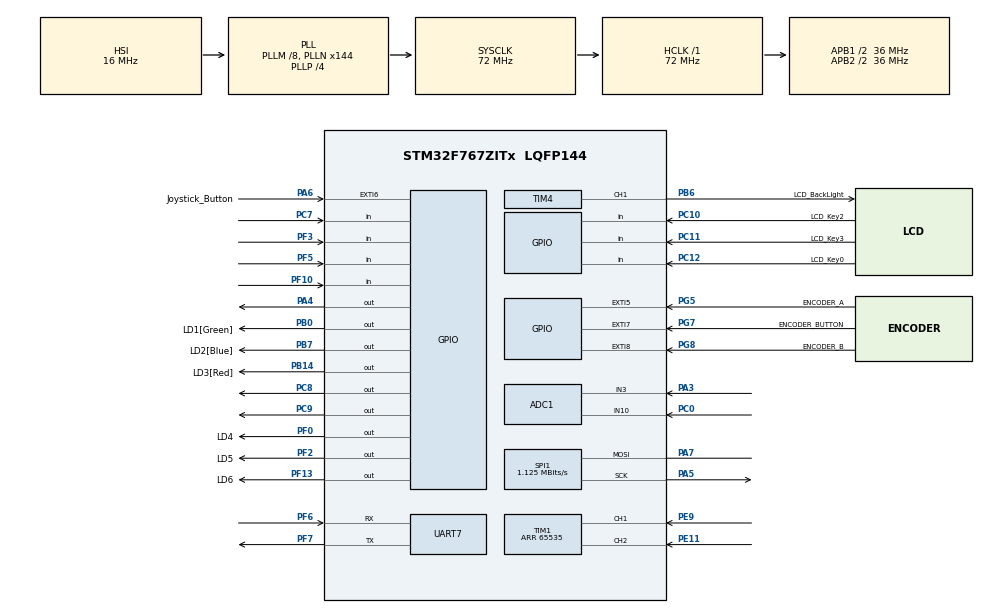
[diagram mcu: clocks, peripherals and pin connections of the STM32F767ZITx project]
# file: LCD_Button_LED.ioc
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ADC1.Channel-0\#ChannelRegularConversion=ADC_CHANNEL_3
ADC1.Channel-1\#ChannelRegularConversion=ADC_CHANNEL_10
ADC1.DMAContinuousRequests=ENABLE
ADC1.EOCSelection=ADC_EOC_SEQ_CONV
ADC1.NbrOfConversion=2
ADC1.NbrOfConversionFlag=1
ADC1.Rank-0\#ChannelRegularConversion=1
ADC1.Rank-1\#ChannelRegularConversion=2
ADC1.SamplingTime-0\#ChannelRegularConversion=ADC_SAMPLETIME_15CYCLES
ADC1.SamplingTime-1\#ChannelRegularConversion=ADC_SAMPLETIME_15CYCLES
ADC1.ScanConvMode=ADC_SCAN_ENABLE
ADC1.master=1
Dma.ADC1.0.Direction=DMA_PERIPH_TO_MEMORY
Dma.ADC1.0.FIFOMode=DMA_FIFOMODE_DISABLE
Dma.ADC1.0.Instance=DMA2_Stream0
Dma.ADC1.0.MemDataAlignment=DMA_MDATAALIGN_HALFWORD
Dma.ADC1.0.MemInc=DMA_MINC_ENABLE
Dma.ADC1.0.Mode=DMA_NORMAL
Dma.ADC1.0.PeriphDataAlignment=DMA_PDATAALIGN_HALFWORD
Dma.ADC1.0.PeriphInc=DMA_PINC_DISABLE
Dma.ADC1.0.Priority=DMA_PRIORITY_HIGH
Dma.Request0=ADC1
Mcu.Family=STM32F7
Mcu.Name=STM32F767ZITx
Mcu.Package=LQFP144
NVIC.ADC_IRQn=true\:0\:0\:false\:false\:true\:true\:true
NVIC.DMA2_Stream0_IRQn=true\:0\:0\:false\:false\:true\:false\:true
NVIC.EXTI9_5_IRQn=true\:0\:0\:false\:false\:true\:true\:true
NVIC.PriorityGroup=NVIC_PRIORITYGROUP_4
NVIC.TIM6_DAC_IRQn=true\:0\:0\:false\:false\:true\:true\:true
NVIC.UART7_IRQn=true\:0\:0\:false\:false\:true\:true\:true
PA3.Signal=ADCx_IN3
PA4.Signal=GPIO_Output
PA5.Mode=Simplex_Bidirectional_Master
PA5.Signal=SPI1_SCK
PA6.GPIO_Label=Joystick_Button
PA6.GPIO_ModeDefaultEXTI=GPIO_MODE_IT_FALLING
PA6.GPIO_PuPd=GPIO_PULLUP
PA6.Signal=GPXTI6
PA7.Mode=Simplex_Bidirectional_Master
PA7.Signal=SPI1_MOSI
PB0.GPIO_Label=LD1[Green]
PB0.Signal=GPIO_Output
PB14.GPIO_Label=LD3[Red]
PB14.Signal=GPIO_Output
PB6.GPIO_Label=LCD_BackLight
PB6.Signal=S_TIM4_CH1
PB7.GPIO_Label=LD2[Blue]
PB7.Signal=GPIO_Output
PC0.Signal=ADCx_IN10
PC10.GPIO_Label=LCD_Key2
PC10.GPIO_PuPd=GPIO_PULLUP
PC10.Signal=GPIO_Input
PC11.GPIO_Label=LCD_Key3
PC11.GPIO_PuPd=GPIO_PULLUP
PC11.Signal=GPIO_Input
PC12.GPIO_Label=LCD_Key0
PC12.GPIO_PuPd=GPIO_PULLUP
PC12.Signal=GPIO_Input
PC7.Signal=GPIO_Input
PC8.Signal=GPIO_Output
PC9.Signal=GPIO_Output
PE11.Signal=S_TIM1_CH2
PE9.Signal=S_TIM1_CH1
PF0.GPIO_Label=LD4
PF0.Signal=GPIO_Output
PF10.Signal=GPIO_Input
PF13.GPIO_Label=LD6
PF13.Signal=GPIO_Output
PF2.GPIO_Label=LD5
PF2.Signal=GPIO_Output
PF3.Signal=GPIO_Input
PF5.Signal=GPIO_Input
PF6.Mode=Asynchronous
PF6.Signal=UART7_RX
PF7.Mode=Asynchronous
PF7.Signal=UART7_TX
PG5.GPIO_Label=ENCODER_A
PG5.GPIO_ModeDefaultEXTI=GPIO_MODE_IT_RISING_FALLING
PG5.Signal=GPXTI5
PG7.GPIO_Label=ENCODER_BUTTON
PG7.GPIO_ModeDefaultEXTI=GPIO_MODE_IT_FALLING
PG7.Signal=GPXTI7
PG8.GPIO_Label=ENCODER_B
PG8.GPIO_ModeDefaultEXTI=GPIO_MODE_IT_RISING_FALLING
PG8.Signal=GPXTI8
PH0/OSC_IN.Mode=HSE-External-Oscillator
PH0/OSC_IN.Signal=RCC_OSC_IN
PH1/OSC_OUT.Mode=HSE-External-Oscillator
PH1/OSC_OUT.Signal=RCC_OSC_OUT
ProjectManager.HeapSize=0x200
ProjectManager.StackSize=0x400
ProjectManager.TargetToolchain=STM32CubeIDE
RCC.AHBFreq_Value=72000000
RCC.APB1CLKDivider=RCC_HCLK_DIV2
RCC.APB1Freq_Value=36000000
RCC.APB1TimFreq_Value=72000000
RCC.APB2CLKDivider=RCC_HCLK_DIV2
RCC.APB2Freq_Value=36000000
RCC.APB2TimFreq_Value=72000000
RCC.CortexFreq_Value=72000000
RCC.HCLKFreq_Value=72000000
RCC.HSE_VALUE=25000000
RCC.HSI_VALUE=16000000
RCC.LSE_VALUE=32768
RCC.PLLM=8
RCC.PLLN=144
RCC.PLLP=RCC_PLLP_DIV4
RCC.SYSCLKFreq_VALUE=72000000
RCC.SYSCLKSource=RCC_SYSCLKSOURCE_PLLCLK
RCC.USBFreq_Value=144000000
RCC.VCOOutputFreq_Value=288000000
SH.ADCx_IN10.0=ADC1_IN10,IN10
SH.ADCx_IN3.0=ADC1_IN3,IN3
SH.S_TIM1_CH1.0=TIM1_CH1,Encoder_Interface
SH.S_TIM1_CH2.0=TIM1_CH2,Encoder_Interface
SH.S_TIM4_CH1.0=TIM4_CH1,PWM Generation1 CH1
SPI1.BaudRatePrescaler=SPI_BAUDRATEPRESCALER_32
SPI1.CalculateBaudRate=1.125 MBits/s
SPI1.DataSize=SPI_DATASIZE_8BIT
SPI1.Direction=SPI_DIRECTION_1LINE
SPI1.Mode=SPI_MODE_MASTER
SPI1.VirtualType=VM_MASTER
TIM1.AutoReloadPreload=TIM_AUTORELOAD_PRELOAD_ENABLE
TIM1.EncoderMode=TIM_ENCODERMODE_TI12
TIM1.IC1Filter=10
TIM1.IC2Filter=10
TIM1.Period=65535
TIM4.Channel-PWM\ Generation1\ CH1=TIM_CHANNEL_1
TIM4.Period=360
TIM4.Prescaler=4
TIM6.Period=10000
VP_TIM4_VS_ClockSourceINT.Mode=Internal
VP_TIM6_VS_ClockSourceINT.Mode=Enable_Timer
board=custom

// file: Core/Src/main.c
/* USER CODE BEGIN Header */
/**
  ******************************************************************************
  * @file           : main.c
  * @brief          : Main program body
  ******************************************************************************
  * @attention
  *
  * <h2><center>&copy; Copyright (c) 2021 STMicroelectronics.
  * All rights reserved.</center></h2>
  *
  * This software component is licensed by ST under BSD 3-Clause license,
  * the "License"; You may not use this file except in compliance with the
  * License. You may obtain a copy of the License at:
  *                        opensource.org/licenses/BSD-3-Clause
  *
  ******************************************************************************
  */
/* USER CODE END Header */
#include "main.h"

/* USER CODE BEGIN Includes */
#include "ST7735.h"
#include "GFX_FUNCTIONS.h"

#include "MCRuntime_V1.h"
#include "adaptor.h"
/* USER CODE END Includes */

ADC_HandleTypeDef hadc1;
DMA_HandleTypeDef hdma_adc1;

SPI_HandleTypeDef hspi1;

TIM_HandleTypeDef htim1;
TIM_HandleTypeDef htim4;
TIM_HandleTypeDef htim6;

UART_HandleTypeDef huart7;

/* USER CODE BEGIN PV */

uint32_t start = 0;
uint32_t finish = 0;
///// variables for joystick
uint8_t joystick_button_flag = 0;
uint8_t joystick_button_time_start_memory_counter = 0;
uint32_t joystick_button_time_start[10];
uint32_t joystick_button_signal_finish = 0;
const uint32_t bounce_time = 400;
const uint32_t encoder_bounce_time = 10;
const uint32_t delta = 39;
uint16_t value_adc[2];
uint8_t adc_flag = 0;

////
uint8_t ENC_A_flag = 0;
////
uint8_t ENC_B_flag = 0;
////
uint8_t ENC_BUTTON_flag = 0;
uint8_t Encoder_button_time_start_memory_counter = 0;
uint32_t Encoder_button_time_start[10];
uint32_t Encoder_button_signal_finish = 0;
////
uint8_t ENC_State = 0;
uint32_t ENC_Counter = 0;
////
/* USER CODE END PV */

void SystemClock_Config(void);
static void MX_GPIO_Init(void);
static void MX_SPI1_Init(void);
static void MX_DMA_Init(void);
static void MX_ADC1_Init(void);
static void MX_TIM4_Init(void);
static void MX_UART7_Init(void);
static void MX_TIM6_Init(void);
static void MX_TIM1_Init(void);

int main(void)
{

  /* MCU Configuration--------------------------------------------------------*/

  /* Reset of all peripherals, Initializes the Flash interface and the Systick. */
  HAL_Init();

  /* Configure the system clock */
  SystemClock_Config();

  /* Initialize all configured peripherals */
  MX_GPIO_Init();
  MX_SPI1_Init();
  MX_DMA_Init();
  MX_ADC1_Init();
  MX_TIM4_Init();
  MX_UART7_Init();
  MX_TIM6_Init();
  MX_TIM1_Init();
  /* USER CODE BEGIN 2 */

  HAL_TIM_Encoder_Start(&htim1, TIM_CHANNEL_ALL);

  initiate_runtime();

  ST7735_Init(0);
  fillScreen(BLACK);
#ifdef ZAFER
  //
  HAL_ADC_Start_DMA(&hadc1, (uint32_t*)&value_adc, 2);
  // LCD start grafik
  ST7735_FillScreen(BLACK);
  drawLine(56, 64, 72, 64, WHITE);
  drawLine(64, 56, 64, 72, WHITE);
  //
  start = HAL_GetTick();

#endif
  /* USER CODE END 2 */

  /* Infinite loop */
  while (1)
  {

    /* USER CODE BEGIN 3 */

	  mcCore_SM();

	  // joystick
#ifdef ZAFER
	  /////////////////// joystick yönleri
	  if(adc_flag==1)
	  	  {
	  		  adc_flag = 0;
	  		  /*
	  		  ST7735_FillScreen(BLACK);
	  		  drawLine((value_adc[1]/delta)-8, (value_adc[0]/delta), (value_adc[1]/delta)+8, (value_adc[0]/delta), WHITE);
	  		  drawLine((value_adc[1]/delta), (value_adc[0]/delta)-8, (value_adc[1]/delta), (value_adc[0]/delta)+8, WHITE);
	  		  */
	  		  HAL_ADC_Start_DMA(&hadc1, (uint32_t*)&value_adc, 2);
	  	  }
	  ////////////Joystick Button
	  if(joystick_button_flag == 1)
	  {
		  joystick_button_signal_finish = (HAL_GetTick() - joystick_button_time_start[joystick_button_time_start_memory_counter-1]);
		  if(joystick_button_signal_finish > bounce_time)
		  {
			  __NOP();
			  joystick_button_time_start_memory_counter = 0;
			  memset(joystick_button_time_start, 0, sizeof(joystick_button_time_start));
			  joystick_button_flag = 0;
			  HAL_GPIO_TogglePin(LD1_GPIO_Port,LD1_Pin);

		  }
	  }
	  ////////////Encoder Button
	  if(ENC_BUTTON_flag == 1)
	  {
		  Encoder_button_signal_finish = (HAL_GetTick() - Encoder_button_time_start[Encoder_button_time_start_memory_counter-1]);
		  if(Encoder_button_signal_finish > bounce_time)
		  {
			  Encoder_button_time_start_memory_counter = 0;
			  memset(Encoder_button_time_start, 0, sizeof(Encoder_button_time_start));
			  ENC_BUTTON_flag = 0;
			  HAL_GPIO_TogglePin(LD2_GPIO_Port,LD2_Pin);
			  __NOP();
		  }
	  }
	  ////////////Encoder A
	  if(ENC_A_flag == 1)
	  {
		  ENC_A_flag = 0;
		  if(HAL_GPIO_ReadPin(ENCODER_A_GPIO_Port, ENCODER_A_Pin) ==  GPIO_PIN_SET)
		  {
			  ENC_State = 1;
		  }
		  else
		  {
			  ENC_State = 0;
		  }
	  }
	  ////////////Encoder B
	  if(ENC_B_flag == 1)
	  {
		  ENC_B_flag = 0;
		  if(ENC_State == 1)
		  {
			  if(HAL_GPIO_ReadPin(ENCODER_B_GPIO_Port, ENCODER_B_Pin) ==  GPIO_PIN_SET)
			  {
				  if(ENC_Counter < 255)
					  ENC_Counter++;
			  }
			  else
			  {
				  if(ENC_Counter > 0)
					ENC_Counter--;
			  }
		  }
	  }
	  ///
	  finish = HAL_GetTick();
	  if((finish - start) > 500)
	  {
		  start = HAL_GetTick();
		  HAL_GPIO_TogglePin(GPIOF,GPIO_PIN_13);
	  }
	  if(HAL_GPIO_ReadPin(GPIOC,LCD_Key1_Pin)==1)
		  HAL_GPIO_WritePin(GPIOF, GPIO_PIN_2,GPIO_PIN_SET);
	  else
		  HAL_GPIO_WritePin(GPIOF, GPIO_PIN_2,GPIO_PIN_RESET);
	  //testAll();
	  //loop();

#endif
  }
  /* USER CODE END 3 */
}

void SystemClock_Config(void)
{
  RCC_OscInitTypeDef RCC_OscInitStruct = {0};
  RCC_ClkInitTypeDef RCC_ClkInitStruct = {0};

  /** Configure the main internal regulator output voltage
  */
  __HAL_RCC_PWR_CLK_ENABLE();
  __HAL_PWR_VOLTAGESCALING_CONFIG(PWR_REGULATOR_VOLTAGE_SCALE3);
  /** Initializes the RCC Oscillators according to the specified parameters
  * in the RCC_OscInitTypeDef structure.
  */
  RCC_OscInitStruct.OscillatorType = RCC_OSCILLATORTYPE_HSI;
  RCC_OscInitStruct.HSIState = RCC_HSI_ON;
  RCC_OscInitStruct.HSICalibrationValue = RCC_HSICALIBRATION_DEFAULT;
  RCC_OscInitStruct.PLL.PLLState = RCC_PLL_ON;
  RCC_OscInitStruct.PLL.PLLSource = RCC_PLLSOURCE_HSI;
  RCC_OscInitStruct.PLL.PLLM = 8;
  RCC_OscInitStruct.PLL.PLLN = 144;
  RCC_OscInitStruct.PLL.PLLP = RCC_PLLP_DIV4;
  RCC_OscInitStruct.PLL.PLLQ = 2;
  RCC_OscInitStruct.PLL.PLLR = 2;
  if (HAL_RCC_OscConfig(&RCC_OscInitStruct) != HAL_OK)
  {
    Error_Handler();
  }
  /** Initializes the CPU, AHB and APB buses clocks
  */
  RCC_ClkInitStruct.ClockType = RCC_CLOCKTYPE_HCLK|RCC_CLOCKTYPE_SYSCLK
                              |RCC_CLOCKTYPE_PCLK1|RCC_CLOCKTYPE_PCLK2;
  RCC_ClkInitStruct.SYSCLKSource = RCC_SYSCLKSOURCE_PLLCLK;
  RCC_ClkInitStruct.AHBCLKDivider = RCC_SYSCLK_DIV1;
  RCC_ClkInitStruct.APB1CLKDivider = RCC_HCLK_DIV2;
  RCC_ClkInitStruct.APB2CLKDivider = RCC_HCLK_DIV2;

  if (HAL_RCC_ClockConfig(&RCC_ClkInitStruct, FLASH_LATENCY_2) != HAL_OK)
  {
    Error_Handler();
  }
}

static void MX_ADC1_Init(void)
{

  ADC_ChannelConfTypeDef sConfig = {0};

  /** Configure the global features of the ADC (Clock, Resolution, Data Alignment and number of conversion)
  */
  hadc1.Instance = ADC1;
  hadc1.Init.ClockPrescaler = ADC_CLOCK_SYNC_PCLK_DIV2;
  hadc1.Init.Resolution = ADC_RESOLUTION_12B;
  hadc1.Init.ScanConvMode = ADC_SCAN_ENABLE;
  hadc1.Init.ContinuousConvMode = DISABLE;
  hadc1.Init.DiscontinuousConvMode = DISABLE;
  hadc1.Init.ExternalTrigConvEdge = ADC_EXTERNALTRIGCONVEDGE_NONE;
  hadc1.Init.ExternalTrigConv = ADC_SOFTWARE_START;
  hadc1.Init.DataAlign = ADC_DATAALIGN_RIGHT;
  hadc1.Init.NbrOfConversion = 2;
  hadc1.Init.DMAContinuousRequests = ENABLE;
  hadc1.Init.EOCSelection = ADC_EOC_SEQ_CONV;
  if (HAL_ADC_Init(&hadc1) != HAL_OK)
  {
    Error_Handler();
  }
  /** Configure for the selected ADC regular channel its corresponding rank in the sequencer and its sample time.
  */
  sConfig.Channel = ADC_CHANNEL_3;
  sConfig.Rank = ADC_REGULAR_RANK_1;
  sConfig.SamplingTime = ADC_SAMPLETIME_15CYCLES;
  if (HAL_ADC_ConfigChannel(&hadc1, &sConfig) != HAL_OK)
  {
    Error_Handler();
  }
  /** Configure for the selected ADC regular channel its corresponding rank in the sequencer and its sample time.
  */
  sConfig.Channel = ADC_CHANNEL_10;
  sConfig.Rank = ADC_REGULAR_RANK_2;
  if (HAL_ADC_ConfigChannel(&hadc1, &sConfig) != HAL_OK)
  {
    Error_Handler();
  }

}

static void MX_SPI1_Init(void)
{

  /* SPI1 parameter configuration*/
  hspi1.Instance = SPI1;
  hspi1.Init.Mode = SPI_MODE_MASTER;
  hspi1.Init.Direction = SPI_DIRECTION_1LINE;
  hspi1.Init.DataSize = SPI_DATASIZE_8BIT;
  hspi1.Init.CLKPolarity = SPI_POLARITY_LOW;
  hspi1.Init.CLKPhase = SPI_PHASE_1EDGE;
  hspi1.Init.NSS = SPI_NSS_SOFT;
  hspi1.Init.BaudRatePrescaler = SPI_BAUDRATEPRESCALER_32;
  hspi1.Init.FirstBit = SPI_FIRSTBIT_MSB;
  hspi1.Init.TIMode = SPI_TIMODE_DISABLE;
  hspi1.Init.CRCCalculation = SPI_CRCCALCULATION_DISABLE;
  hspi1.Init.CRCPolynomial = 7;
  hspi1.Init.CRCLength = SPI_CRC_LENGTH_DATASIZE;
  hspi1.Init.NSSPMode = SPI_NSS_PULSE_ENABLE;
  if (HAL_SPI_Init(&hspi1) != HAL_OK)
  {
    Error_Handler();
  }

}

static void MX_TIM1_Init(void)
{

  TIM_Encoder_InitTypeDef sConfig = {0};
  TIM_MasterConfigTypeDef sMasterConfig = {0};

  htim1.Instance = TIM1;
  htim1.Init.Prescaler = 0;
  htim1.Init.CounterMode = TIM_COUNTERMODE_UP;
  htim1.Init.Period = 65535;
  htim1.Init.ClockDivision = TIM_CLOCKDIVISION_DIV1;
  htim1.Init.RepetitionCounter = 0;
  htim1.Init.AutoReloadPreload = TIM_AUTORELOAD_PRELOAD_ENABLE;
  sConfig.EncoderMode = TIM_ENCODERMODE_TI12;
  sConfig.IC1Polarity = TIM_ICPOLARITY_RISING;
  sConfig.IC1Selection = TIM_ICSELECTION_DIRECTTI;
  sConfig.IC1Prescaler = TIM_ICPSC_DIV1;
  sConfig.IC1Filter = 10;
  sConfig.IC2Polarity = TIM_ICPOLARITY_RISING;
  sConfig.IC2Selection = TIM_ICSELECTION_DIRECTTI;
  sConfig.IC2Prescaler = TIM_ICPSC_DIV1;
  sConfig.IC2Filter = 10;
  if (HAL_TIM_Encoder_Init(&htim1, &sConfig) != HAL_OK)
  {
    Error_Handler();
  }
  sMasterConfig.MasterOutputTrigger = TIM_TRGO_RESET;
  sMasterConfig.MasterOutputTrigger2 = TIM_TRGO2_RESET;
  sMasterConfig.MasterSlaveMode = TIM_MASTERSLAVEMODE_DISABLE;
  if (HAL_TIMEx_MasterConfigSynchronization(&htim1, &sMasterConfig) != HAL_OK)
  {
    Error_Handler();
  }

}

static void MX_TIM4_Init(void)
{

  TIM_ClockConfigTypeDef sClockSourceConfig = {0};
  TIM_MasterConfigTypeDef sMasterConfig = {0};
  TIM_OC_InitTypeDef sConfigOC = {0};

  htim4.Instance = TIM4;
  htim4.Init.Prescaler = 4;
  htim4.Init.CounterMode = TIM_COUNTERMODE_UP;
  htim4.Init.Period = 360;
  htim4.Init.ClockDivision = TIM_CLOCKDIVISION_DIV1;
  htim4.Init.AutoReloadPreload = TIM_AUTORELOAD_PRELOAD_DISABLE;
  if (HAL_TIM_Base_Init(&htim4) != HAL_OK)
  {
    Error_Handler();
  }
  sClockSourceConfig.ClockSource = TIM_CLOCKSOURCE_INTERNAL;
  if (HAL_TIM_ConfigClockSource(&htim4, &sClockSourceConfig) != HAL_OK)
  {
    Error_Handler();
  }
  if (HAL_TIM_PWM_Init(&htim4) != HAL_OK)
  {
    Error_Handler();
  }
  sMasterConfig.MasterOutputTrigger = TIM_TRGO_RESET;
  sMasterConfig.MasterSlaveMode = TIM_MASTERSLAVEMODE_DISABLE;
  if (HAL_TIMEx_MasterConfigSynchronization(&htim4, &sMasterConfig) != HAL_OK)
  {
    Error_Handler();
  }
  sConfigOC.OCMode = TIM_OCMODE_PWM1;
  sConfigOC.Pulse = 0;
  sConfigOC.OCPolarity = TIM_OCPOLARITY_HIGH;
  sConfigOC.OCFastMode = TIM_OCFAST_DISABLE;
  if (HAL_TIM_PWM_ConfigChannel(&htim4, &sConfigOC, TIM_CHANNEL_1) != HAL_OK)
  {
    Error_Handler();
  }
  HAL_TIM_MspPostInit(&htim4);

}

static void MX_TIM6_Init(void)
{

  TIM_MasterConfigTypeDef sMasterConfig = {0};

  htim6.Instance = TIM6;
  htim6.Init.Prescaler = 0;
  htim6.Init.CounterMode = TIM_COUNTERMODE_UP;
  htim6.Init.Period = 10000;
  htim6.Init.AutoReloadPreload = TIM_AUTORELOAD_PRELOAD_DISABLE;
  if (HAL_TIM_Base_Init(&htim6) != HAL_OK)
  {
    Error_Handler();
  }
  sMasterConfig.MasterOutputTrigger = TIM_TRGO_RESET;
  sMasterConfig.MasterSlaveMode = TIM_MASTERSLAVEMODE_DISABLE;
  if (HAL_TIMEx_MasterConfigSynchronization(&htim6, &sMasterConfig) != HAL_OK)
  {
    Error_Handler();
  }

}

static void MX_UART7_Init(void)
{

  huart7.Instance = UART7;
  huart7.Init.BaudRate = 115200;
  huart7.Init.WordLength = UART_WORDLENGTH_8B;
  huart7.Init.StopBits = UART_STOPBITS_1;
  huart7.Init.Parity = UART_PARITY_NONE;
  huart7.Init.Mode = UART_MODE_TX_RX;
  huart7.Init.HwFlowCtl = UART_HWCONTROL_NONE;
  huart7.Init.OverSampling = UART_OVERSAMPLING_16;
  huart7.Init.OneBitSampling = UART_ONE_BIT_SAMPLE_DISABLE;
  huart7.AdvancedInit.AdvFeatureInit = UART_ADVFEATURE_NO_INIT;
  if (HAL_UART_Init(&huart7) != HAL_OK)
  {
    Error_Handler();
  }

}

static void MX_DMA_Init(void)
{

  /* DMA controller clock enable */
  __HAL_RCC_DMA2_CLK_ENABLE();

  /* DMA interrupt init */
  /* DMA2_Stream0_IRQn interrupt configuration */
  HAL_NVIC_SetPriority(DMA2_Stream0_IRQn, 0, 0);
  HAL_NVIC_EnableIRQ(DMA2_Stream0_IRQn);

}

static void MX_GPIO_Init(void)
{
  GPIO_InitTypeDef GPIO_InitStruct = {0};

  /* GPIO Ports Clock Enable */
  __HAL_RCC_GPIOF_CLK_ENABLE();
  __HAL_RCC_GPIOH_CLK_ENABLE();
  __HAL_RCC_GPIOC_CLK_ENABLE();
  __HAL_RCC_GPIOA_CLK_ENABLE();
  __HAL_RCC_GPIOB_CLK_ENABLE();
  __HAL_RCC_GPIOE_CLK_ENABLE();
  __HAL_RCC_GPIOG_CLK_ENABLE();

  /*Configure GPIO pin Output Level */
  HAL_GPIO_WritePin(GPIOF, LD4_Pin|LD5_Pin|LD6_Pin, GPIO_PIN_RESET);

  /*Configure GPIO pin Output Level */
  HAL_GPIO_WritePin(GPIOA, GPIO_PIN_4, GPIO_PIN_RESET);

  /*Configure GPIO pin Output Level */
  HAL_GPIO_WritePin(GPIOB, LD1_Pin|LD3_Pin|LD2_Pin, GPIO_PIN_RESET);

  /*Configure GPIO pin Output Level */
  HAL_GPIO_WritePin(GPIOC, GPIO_PIN_8|GPIO_PIN_9, GPIO_PIN_RESET);

  /*Configure GPIO pins : LD4_Pin LD5_Pin LD6_Pin */
  GPIO_InitStruct.Pin = LD4_Pin|LD5_Pin|LD6_Pin;
  GPIO_InitStruct.Mode = GPIO_MODE_OUTPUT_PP;
  GPIO_InitStruct.Pull = GPIO_NOPULL;
  GPIO_InitStruct.Speed = GPIO_SPEED_FREQ_LOW;
  HAL_GPIO_Init(GPIOF, &GPIO_InitStruct);

  /*Configure GPIO pins : PF3 PF5 PF10 */
  GPIO_InitStruct.Pin = GPIO_PIN_3|GPIO_PIN_5|GPIO_PIN_10;
  GPIO_InitStruct.Mode = GPIO_MODE_INPUT;
  GPIO_InitStruct.Pull = GPIO_NOPULL;
  HAL_GPIO_Init(GPIOF, &GPIO_InitStruct);

  /*Configure GPIO pin : PA4 */
  GPIO_InitStruct.Pin = GPIO_PIN_4;
  GPIO_InitStruct.Mode = GPIO_MODE_OUTPUT_PP;
  GPIO_InitStruct.Pull = GPIO_NOPULL;
  GPIO_InitStruct.Speed = GPIO_SPEED_FREQ_LOW;
  HAL_GPIO_Init(GPIOA, &GPIO_InitStruct);

  /*Configure GPIO pin : Joystick_Button_Pin */
  GPIO_InitStruct.Pin = Joystick_Button_Pin;
  GPIO_InitStruct.Mode = GPIO_MODE_IT_FALLING;
  GPIO_InitStruct.Pull = GPIO_PULLUP;
  HAL_GPIO_Init(Joystick_Button_GPIO_Port, &GPIO_InitStruct);

  /*Configure GPIO pins : LD1_Pin LD3_Pin LD2_Pin */
  GPIO_InitStruct.Pin = LD1_Pin|LD3_Pin|LD2_Pin;
  GPIO_InitStruct.Mode = GPIO_MODE_OUTPUT_PP;
  GPIO_InitStruct.Pull = GPIO_NOPULL;
  GPIO_InitStruct.Speed = GPIO_SPEED_FREQ_LOW;
  HAL_GPIO_Init(GPIOB, &GPIO_InitStruct);

  /*Configure GPIO pins : ENCODER_A_Pin ENCODER_B_Pin */
  GPIO_InitStruct.Pin = ENCODER_A_Pin|ENCODER_B_Pin;
  GPIO_InitStruct.Mode = GPIO_MODE_IT_RISING_FALLING;
  GPIO_InitStruct.Pull = GPIO_NOPULL;
  HAL_GPIO_Init(GPIOG, &GPIO_InitStruct);

  /*Configure GPIO pin : ENCODER_BUTTON_Pin */
  GPIO_InitStruct.Pin = ENCODER_BUTTON_Pin;
  GPIO_InitStruct.Mode = GPIO_MODE_IT_FALLING;
  GPIO_InitStruct.Pull = GPIO_NOPULL;
  HAL_GPIO_Init(ENCODER_BUTTON_GPIO_Port, &GPIO_InitStruct);

  /*Configure GPIO pin : PC7 */
  GPIO_InitStruct.Pin = GPIO_PIN_7;
  GPIO_InitStruct.Mode = GPIO_MODE_INPUT;
  GPIO_InitStruct.Pull = GPIO_NOPULL;
  HAL_GPIO_Init(GPIOC, &GPIO_InitStruct);

  /*Configure GPIO pins : PC8 PC9 */
  GPIO_InitStruct.Pin = GPIO_PIN_8|GPIO_PIN_9;
  GPIO_InitStruct.Mode = GPIO_MODE_OUTPUT_PP;
  GPIO_InitStruct.Pull = GPIO_NOPULL;
  GPIO_InitStruct.Speed = GPIO_SPEED_FREQ_LOW;
  HAL_GPIO_Init(GPIOC, &GPIO_InitStruct);

  /*Configure GPIO pins : LCD_Key2_Pin LCD_Key3_Pin LCD_Key0_Pin */
  GPIO_InitStruct.Pin = LCD_Key2_Pin|LCD_Key3_Pin|LCD_Key0_Pin;
  GPIO_InitStruct.Mode = GPIO_MODE_INPUT;
  GPIO_InitStruct.Pull = GPIO_PULLUP;
  HAL_GPIO_Init(GPIOC, &GPIO_InitStruct);

  /* EXTI interrupt init*/
  HAL_NVIC_SetPriority(EXTI9_5_IRQn, 0, 0);
  HAL_NVIC_EnableIRQ(EXTI9_5_IRQn);

}

/* USER CODE BEGIN 4 */
#ifdef ZAFER
void HAL_GPIO_EXTI_Callback(uint16_t GPIO_Pin)
{

	if(Encoder_button_time_start_memory_counter >= 8 ) Encoder_button_time_start_memory_counter = 0;
	if(joystick_button_time_start_memory_counter >= 8 ) joystick_button_time_start_memory_counter = 0;
	switch(GPIO_Pin)
	{
	case 32: // ENCODER_A
		change_flag(&ENC_A_flag);
		break;
	case 64: // JOYSTICK_BUTTON
		change_flag(&joystick_button_flag);
		joystick_button_time_start[joystick_button_time_start_memory_counter++] = HAL_GetTick();
		break;
	case 128: // ENCODER_BUTTON
		change_flag(&ENC_BUTTON_flag);
		Encoder_button_time_start[Encoder_button_time_start_memory_counter++] = HAL_GetTick();
		break;
	case 256: // ENCODER_B
		change_flag(&ENC_B_flag);
		break;
	}
}

void change_flag(uint8_t *flag)
{
	if(*flag == 0)
	{
		*flag = 1;
	}
}
void HAL_ADC_ConvCpltCallback(ADC_HandleTypeDef* hadc)
{
	adc_flag = 1;
}
#endif
/* USER CODE END 4 */

void Error_Handler(void)
{
  /* USER CODE BEGIN Error_Handler_Debug */
  /* User can add his own implementation to report the HAL error return state */
  __disable_irq();
  while (1)
  {
	  HAL_GPIO_TogglePin(LD3_GPIO_Port, LD3_Pin);
  }
  /* USER CODE END Error_Handler_Debug */
}
